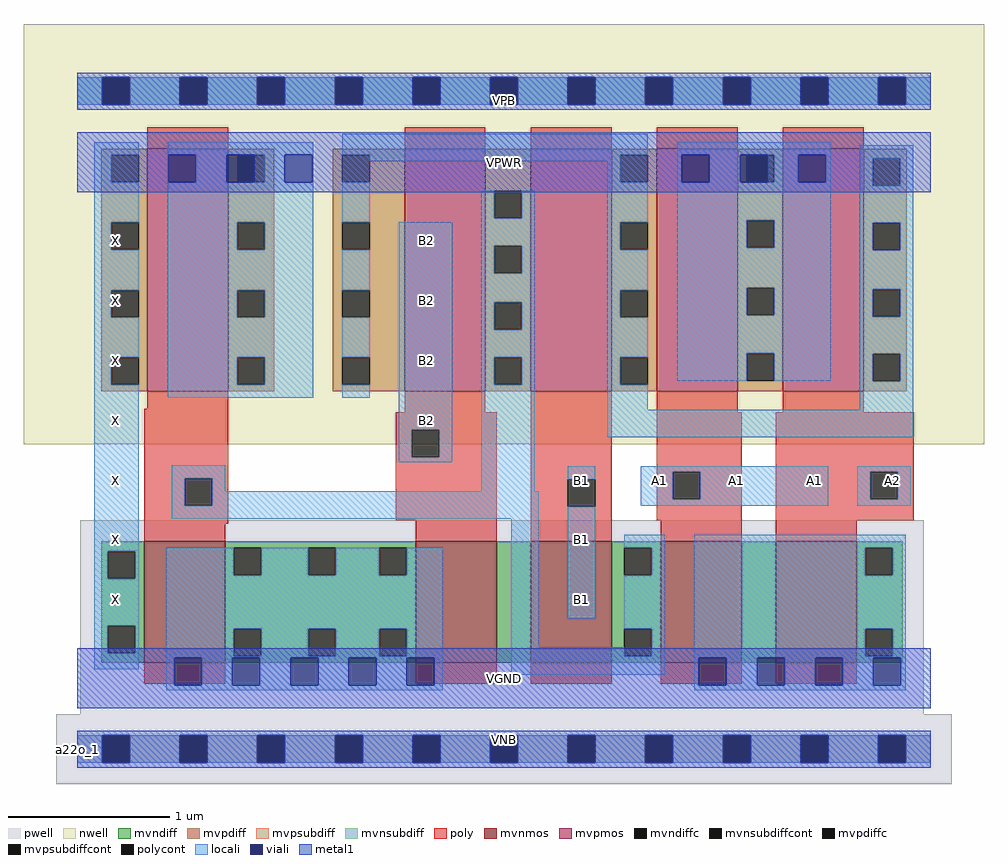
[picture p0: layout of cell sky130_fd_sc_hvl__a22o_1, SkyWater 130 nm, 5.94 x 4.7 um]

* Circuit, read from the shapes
.subckt sky130_fd_sc_hvl__a22o_1 A1 A2 B1 B2 VGND VNB VPB VPWR X
XM1 VGND n1 X VNB sky130_fd_pr__nfet_g5v0d10v5 w=0.75 l=0.5
XM2 n2 B2 VGND VNB sky130_fd_pr__nfet_g5v0d10v5 w=0.75 l=0.5
XM3 n1 B1 n2 VNB sky130_fd_pr__nfet_g5v0d10v5 w=0.75 l=0.5
XM4 n3 A1 n1 VNB sky130_fd_pr__nfet_g5v0d10v5 w=0.75 l=0.5
XM5 VGND A2 n3 VNB sky130_fd_pr__nfet_g5v0d10v5 w=0.75 l=0.5
XM6 VPWR n1 X VPB sky130_fd_pr__pfet_g5v0d10v5 w=1.5 l=0.5
XM7 n1 B2 n4 VPB sky130_fd_pr__pfet_g5v0d10v5 w=1.5 l=0.5
XM8 n4 B1 n1 VPB sky130_fd_pr__pfet_g5v0d10v5 w=1.5 l=0.5
XM9 VPWR A1 n4 VPB sky130_fd_pr__pfet_g5v0d10v5 w=1.5 l=0.5
XM10 n4 A2 VPWR VPB sky130_fd_pr__pfet_g5v0d10v5 w=1.5 l=0.5
.ends

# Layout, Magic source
magic
tech sky130A
magscale 1 2
<< nwell >>
rect -66 377 1122 897
<< pwell >>
rect 4 43 1047 283
rect -26 -43 1082 43
<< mvnmos >>
rect 83 107 183 257
rect 419 107 519 257
rect 561 107 661 257
rect 722 107 822 257
rect 864 107 964 257
<< mvpmos >>
rect 87 443 187 743
rect 405 443 505 743
rect 561 443 661 743
rect 717 443 817 743
rect 873 443 973 743
<< mvndiff >>
rect 30 245 83 257
rect 30 211 38 245
rect 72 211 83 245
rect 30 153 83 211
rect 30 119 38 153
rect 72 119 83 153
rect 30 107 83 119
rect 183 249 419 257
rect 183 215 194 249
rect 228 215 286 249
rect 320 215 374 249
rect 408 215 419 249
rect 183 149 419 215
rect 183 115 194 149
rect 228 115 286 149
rect 320 115 374 149
rect 408 115 419 149
rect 183 107 419 115
rect 519 107 561 257
rect 661 249 722 257
rect 661 215 677 249
rect 711 215 722 249
rect 661 149 722 215
rect 661 115 677 149
rect 711 115 722 149
rect 661 107 722 115
rect 822 107 864 257
rect 964 249 1021 257
rect 964 215 975 249
rect 1009 215 1021 249
rect 964 149 1021 215
rect 964 115 975 149
rect 1009 115 1021 149
rect 964 107 1021 115
<< mvpdiff >>
rect 30 735 87 743
rect 30 701 42 735
rect 76 701 87 735
rect 30 652 87 701
rect 30 618 42 652
rect 76 618 87 652
rect 30 568 87 618
rect 30 534 42 568
rect 76 534 87 568
rect 30 485 87 534
rect 30 451 42 485
rect 76 451 87 485
rect 30 443 87 451
rect 187 735 244 743
rect 187 701 198 735
rect 232 701 244 735
rect 187 652 244 701
rect 187 618 198 652
rect 232 618 244 652
rect 187 568 244 618
rect 187 534 198 568
rect 232 534 244 568
rect 187 485 244 534
rect 187 451 198 485
rect 232 451 244 485
rect 187 443 244 451
rect 316 735 405 743
rect 316 701 328 735
rect 362 701 405 735
rect 316 652 405 701
rect 316 618 328 652
rect 362 618 405 652
rect 316 568 405 618
rect 316 534 328 568
rect 362 534 405 568
rect 316 485 405 534
rect 316 451 328 485
rect 362 451 405 485
rect 316 443 405 451
rect 505 691 561 743
rect 505 657 516 691
rect 550 657 561 691
rect 505 623 561 657
rect 505 589 516 623
rect 550 589 561 623
rect 505 553 561 589
rect 505 519 516 553
rect 550 519 561 553
rect 505 485 561 519
rect 505 451 516 485
rect 550 451 561 485
rect 505 443 561 451
rect 661 735 717 743
rect 661 701 672 735
rect 706 701 717 735
rect 661 652 717 701
rect 661 618 672 652
rect 706 618 717 652
rect 661 568 717 618
rect 661 534 672 568
rect 706 534 717 568
rect 661 485 717 534
rect 661 451 672 485
rect 706 451 717 485
rect 661 443 717 451
rect 817 735 873 743
rect 817 701 828 735
rect 862 701 873 735
rect 817 654 873 701
rect 817 620 828 654
rect 862 620 873 654
rect 817 571 873 620
rect 817 537 828 571
rect 862 537 873 571
rect 817 490 873 537
rect 817 456 828 490
rect 862 456 873 490
rect 817 443 873 456
rect 973 731 1026 743
rect 973 697 984 731
rect 1018 697 1026 731
rect 973 651 1026 697
rect 973 617 984 651
rect 1018 617 1026 651
rect 973 569 1026 617
rect 973 535 984 569
rect 1018 535 1026 569
rect 973 489 1026 535
rect 973 455 984 489
rect 1018 455 1026 489
rect 973 443 1026 455
<< mvndiffc >>
rect 38 211 72 245
rect 38 119 72 153
rect 194 215 228 249
rect 286 215 320 249
rect 374 215 408 249
rect 194 115 228 149
rect 286 115 320 149
rect 374 115 408 149
rect 677 215 711 249
rect 677 115 711 149
rect 975 215 1009 249
rect 975 115 1009 149
<< mvpdiffc >>
rect 42 701 76 735
rect 42 618 76 652
rect 42 534 76 568
rect 42 451 76 485
rect 198 701 232 735
rect 198 618 232 652
rect 198 534 232 568
rect 198 451 232 485
rect 328 701 362 735
rect 328 618 362 652
rect 328 534 362 568
rect 328 451 362 485
rect 516 657 550 691
rect 516 589 550 623
rect 516 519 550 553
rect 516 451 550 485
rect 672 701 706 735
rect 672 618 706 652
rect 672 534 706 568
rect 672 451 706 485
rect 828 701 862 735
rect 828 620 862 654
rect 828 537 862 571
rect 828 456 862 490
rect 984 697 1018 731
rect 984 617 1018 651
rect 984 535 1018 569
rect 984 455 1018 489
<< mvpsubdiff >>
rect 0 -17 31 17
rect 65 -17 127 17
rect 161 -17 223 17
rect 257 -17 319 17
rect 353 -17 415 17
rect 449 -17 511 17
rect 545 -17 607 17
rect 641 -17 703 17
rect 737 -17 799 17
rect 833 -17 895 17
rect 929 -17 991 17
rect 1025 -17 1056 17
<< mvnsubdiff >>
rect 0 797 31 831
rect 65 797 127 831
rect 161 797 223 831
rect 257 797 319 831
rect 353 797 415 831
rect 449 797 511 831
rect 545 797 607 831
rect 641 797 703 831
rect 737 797 799 831
rect 833 797 895 831
rect 929 797 991 831
rect 1025 797 1056 831
<< mvpsubdiffcont >>
rect 31 -17 65 17
rect 127 -17 161 17
rect 223 -17 257 17
rect 319 -17 353 17
rect 415 -17 449 17
rect 511 -17 545 17
rect 607 -17 641 17
rect 703 -17 737 17
rect 799 -17 833 17
rect 895 -17 929 17
rect 991 -17 1025 17
<< mvnsubdiffcont >>
rect 31 797 65 831
rect 127 797 161 831
rect 223 797 257 831
rect 319 797 353 831
rect 415 797 449 831
rect 511 797 545 831
rect 607 797 641 831
rect 703 797 737 831
rect 799 797 833 831
rect 895 797 929 831
rect 991 797 1025 831
<< poly >>
rect 87 743 187 769
rect 405 743 505 769
rect 561 743 661 769
rect 717 743 817 769
rect 873 743 973 769
rect 87 421 187 443
rect 83 335 187 421
rect 405 417 505 443
rect 83 301 133 335
rect 167 301 187 335
rect 83 279 187 301
rect 394 395 519 417
rect 394 361 414 395
rect 448 361 519 395
rect 394 283 519 361
rect 83 257 183 279
rect 419 257 519 283
rect 561 334 661 443
rect 561 300 607 334
rect 641 300 661 334
rect 561 257 661 300
rect 717 417 817 443
rect 873 417 973 443
rect 717 343 822 417
rect 717 309 737 343
rect 771 309 822 343
rect 717 283 822 309
rect 722 257 822 283
rect 864 343 1035 417
rect 864 309 981 343
rect 1015 309 1035 343
rect 864 283 1035 309
rect 864 257 964 283
rect 83 81 183 107
rect 419 81 519 107
rect 561 81 661 107
rect 722 81 822 107
rect 864 81 964 107
<< polycont >>
rect 133 301 167 335
rect 414 361 448 395
rect 607 300 641 334
rect 737 309 771 343
rect 981 309 1015 343
<< locali >>
rect 0 797 31 831
rect 65 797 127 831
rect 161 797 223 831
rect 257 797 319 831
rect 353 797 415 831
rect 449 797 511 831
rect 545 797 607 831
rect 641 797 703 831
rect 737 797 799 831
rect 833 797 895 831
rect 929 797 991 831
rect 1025 797 1056 831
rect 21 735 76 751
rect 21 701 42 735
rect 21 652 76 701
rect 21 618 42 652
rect 21 568 76 618
rect 21 534 42 568
rect 21 485 76 534
rect 21 451 42 485
rect 21 245 76 451
rect 112 735 292 751
rect 112 701 113 735
rect 147 701 185 735
rect 232 701 257 735
rect 291 701 292 735
rect 112 652 292 701
rect 112 618 198 652
rect 232 618 292 652
rect 112 568 292 618
rect 112 534 198 568
rect 232 534 292 568
rect 112 485 292 534
rect 112 451 198 485
rect 232 451 292 485
rect 112 435 292 451
rect 328 735 706 761
rect 362 727 672 735
rect 328 652 362 701
rect 656 701 672 727
rect 500 657 516 691
rect 550 657 566 691
rect 328 568 362 618
rect 328 485 362 534
rect 328 435 362 451
rect 398 395 464 652
rect 398 361 414 395
rect 448 361 464 395
rect 398 355 464 361
rect 500 623 566 657
rect 500 589 516 623
rect 550 589 566 623
rect 500 553 566 589
rect 500 519 516 553
rect 550 519 566 553
rect 500 485 566 519
rect 500 451 516 485
rect 550 451 566 485
rect 117 335 183 351
rect 117 301 133 335
rect 167 319 183 335
rect 500 319 566 451
rect 656 652 706 701
rect 656 618 672 652
rect 656 568 706 618
rect 656 534 672 568
rect 656 485 706 534
rect 656 451 672 485
rect 742 735 932 751
rect 742 701 748 735
rect 782 701 820 735
rect 862 701 892 735
rect 926 701 932 735
rect 742 654 932 701
rect 742 620 828 654
rect 862 620 932 654
rect 742 571 932 620
rect 742 537 828 571
rect 862 537 932 571
rect 742 490 932 537
rect 742 456 828 490
rect 862 456 932 490
rect 968 731 1034 747
rect 968 697 984 731
rect 1018 697 1034 731
rect 968 651 1034 697
rect 968 617 984 651
rect 1018 617 1034 651
rect 968 569 1034 617
rect 968 535 984 569
rect 1018 535 1034 569
rect 968 489 1034 535
rect 656 420 706 451
rect 968 455 984 489
rect 1018 455 1034 489
rect 968 420 1034 455
rect 656 386 1034 420
rect 607 334 641 350
rect 167 301 571 319
rect 117 285 571 301
rect 21 211 38 245
rect 72 211 76 245
rect 21 153 76 211
rect 21 119 38 153
rect 72 119 76 153
rect 21 99 76 119
rect 110 215 194 249
rect 228 215 286 249
rect 320 215 374 249
rect 408 215 452 249
rect 110 149 452 215
rect 110 115 194 149
rect 228 115 286 149
rect 320 115 374 149
rect 408 115 452 149
rect 110 113 452 115
rect 110 79 120 113
rect 154 79 192 113
rect 226 79 264 113
rect 298 79 336 113
rect 370 79 408 113
rect 442 79 452 113
rect 537 126 571 285
rect 697 343 929 350
rect 697 309 737 343
rect 771 309 929 343
rect 697 301 929 309
rect 965 343 1031 350
rect 965 309 981 343
rect 1015 309 1031 343
rect 965 301 1031 309
rect 607 162 641 300
rect 677 249 727 265
rect 711 215 727 249
rect 677 149 727 215
rect 537 115 677 126
rect 711 115 727 149
rect 537 92 727 115
rect 763 249 1025 265
rect 763 215 975 249
rect 1009 215 1025 249
rect 763 149 1025 215
rect 763 115 975 149
rect 1009 115 1025 149
rect 763 113 1025 115
rect 110 73 452 79
rect 763 79 769 113
rect 803 79 841 113
rect 875 79 913 113
rect 947 79 985 113
rect 1019 79 1025 113
rect 763 73 1025 79
rect 0 -17 31 17
rect 65 -17 127 17
rect 161 -17 223 17
rect 257 -17 319 17
rect 353 -17 415 17
rect 449 -17 511 17
rect 545 -17 607 17
rect 641 -17 703 17
rect 737 -17 799 17
rect 833 -17 895 17
rect 929 -17 991 17
rect 1025 -17 1056 17
<< viali >>
rect 31 797 65 831
rect 127 797 161 831
rect 223 797 257 831
rect 319 797 353 831
rect 415 797 449 831
rect 511 797 545 831
rect 607 797 641 831
rect 703 797 737 831
rect 799 797 833 831
rect 895 797 929 831
rect 991 797 1025 831
rect 113 701 147 735
rect 185 701 198 735
rect 198 701 219 735
rect 257 701 291 735
rect 748 701 782 735
rect 820 701 828 735
rect 828 701 854 735
rect 892 701 926 735
rect 120 79 154 113
rect 192 79 226 113
rect 264 79 298 113
rect 336 79 370 113
rect 408 79 442 113
rect 769 79 803 113
rect 841 79 875 113
rect 913 79 947 113
rect 985 79 1019 113
rect 31 -17 65 17
rect 127 -17 161 17
rect 223 -17 257 17
rect 319 -17 353 17
rect 415 -17 449 17
rect 511 -17 545 17
rect 607 -17 641 17
rect 703 -17 737 17
rect 799 -17 833 17
rect 895 -17 929 17
rect 991 -17 1025 17
<< metal1 >>
rect 0 831 1056 837
rect 0 797 31 831
rect 65 797 127 831
rect 161 797 223 831
rect 257 797 319 831
rect 353 797 415 831
rect 449 797 511 831
rect 545 797 607 831
rect 641 797 703 831
rect 737 797 799 831
rect 833 797 895 831
rect 929 797 991 831
rect 1025 797 1056 831
rect 0 791 1056 797
rect 0 735 1056 763
rect 0 701 113 735
rect 147 701 185 735
rect 219 701 257 735
rect 291 701 748 735
rect 782 701 820 735
rect 854 701 892 735
rect 926 701 1056 735
rect 0 689 1056 701
rect 0 113 1056 125
rect 0 79 120 113
rect 154 79 192 113
rect 226 79 264 113
rect 298 79 336 113
rect 370 79 408 113
rect 442 79 769 113
rect 803 79 841 113
rect 875 79 913 113
rect 947 79 985 113
rect 1019 79 1056 113
rect 0 51 1056 79
rect 0 17 1056 23
rect 0 -17 31 17
rect 65 -17 127 17
rect 161 -17 223 17
rect 257 -17 319 17
rect 353 -17 415 17
rect 449 -17 511 17
rect 545 -17 607 17
rect 641 -17 703 17
rect 737 -17 799 17
rect 833 -17 895 17
rect 929 -17 991 17
rect 1025 -17 1056 17
rect 0 -23 1056 -17
<< labels >>
rlabel comment s 0 0 0 0 4 a22o_1
flabel metal1 s 0 51 1056 125 0 FreeSans 340 0 0 0 VGND
port 5 nsew ground bidirectional
flabel metal1 s 0 0 1056 23 0 FreeSans 340 0 0 0 VNB
port 6 nsew ground bidirectional
flabel metal1 s 0 689 1056 763 0 FreeSans 340 0 0 0 VPWR
port 8 nsew power bidirectional
flabel metal1 s 0 791 1056 814 0 FreeSans 340 0 0 0 VPB
port 7 nsew power bidirectional
flabel locali s 703 316 737 350 0 FreeSans 340 0 0 0 A1
port 1 nsew signal input
flabel locali s 799 316 833 350 0 FreeSans 340 0 0 0 A1
port 1 nsew signal input
flabel locali s 895 316 929 350 0 FreeSans 340 0 0 0 A1
port 1 nsew signal input
flabel locali s 991 316 1025 350 0 FreeSans 340 0 0 0 A2
port 2 nsew signal input
flabel locali s 607 168 641 202 0 FreeSans 340 0 0 0 B1
port 3 nsew signal input
flabel locali s 607 242 641 276 0 FreeSans 340 0 0 0 B1
port 3 nsew signal input
flabel locali s 607 316 641 350 0 FreeSans 340 0 0 0 B1
port 3 nsew signal input
flabel locali s 415 390 449 424 0 FreeSans 340 0 0 0 B2
port 4 nsew signal input
flabel locali s 415 464 449 498 0 FreeSans 340 0 0 0 B2
port 4 nsew signal input
flabel locali s 415 538 449 572 0 FreeSans 340 0 0 0 B2
port 4 nsew signal input
flabel locali s 415 612 449 646 0 FreeSans 340 0 0 0 B2
port 4 nsew signal input
flabel locali s 31 168 65 202 0 FreeSans 340 0 0 0 X
port 9 nsew signal output
flabel locali s 31 242 65 276 0 FreeSans 340 0 0 0 X
port 9 nsew signal output
flabel locali s 31 316 65 350 0 FreeSans 340 0 0 0 X
port 9 nsew signal output
flabel locali s 31 390 65 424 0 FreeSans 340 0 0 0 X
port 9 nsew signal output
flabel locali s 31 464 65 498 0 FreeSans 340 0 0 0 X
port 9 nsew signal output
flabel locali s 31 538 65 572 0 FreeSans 340 0 0 0 X
port 9 nsew signal output
flabel locali s 31 612 65 646 0 FreeSans 340 0 0 0 X
port 9 nsew signal output
<< properties >>
string FIXED_BBOX 0 0 1056 814
string GDS_END 783842
string GDS_FILE $PDKPATH/libs.ref/sky130_fd_sc_hvl/gds/sky130_fd_sc_hvl.gds
string GDS_START 769994
string LEFclass CORE
string LEFsite unithv
string LEFsymmetry X Y
<< end >>
